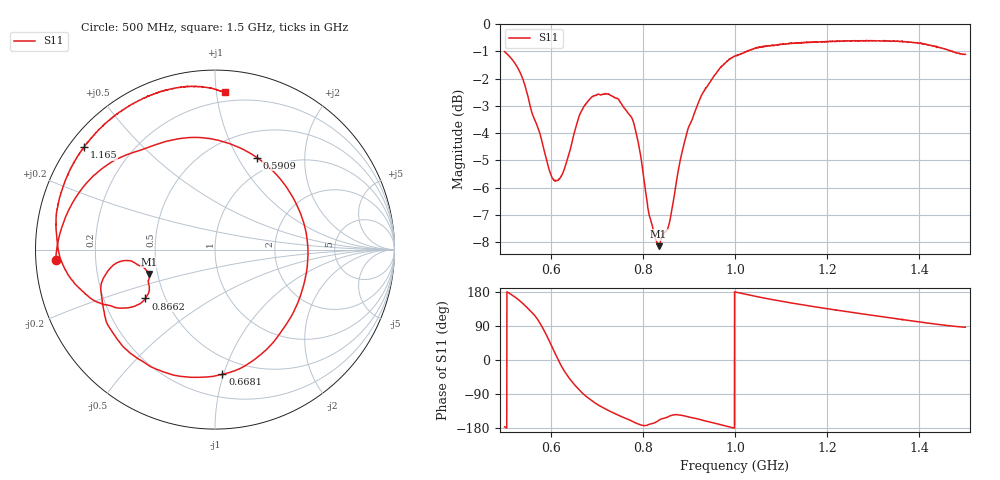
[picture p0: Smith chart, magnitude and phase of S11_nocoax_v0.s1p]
# HZ S RI R 50
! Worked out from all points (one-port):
!   3201 points, 500 MHz to 1.5 GHz, reference 50 ohm
!   lowest |S11| = -8.2 dB at 834.1 MHz (marker M1), VSWR 2.28, Z = 22.4 - j7.16 ohm
!   |S11| at or under -10 dB: nowhere
!   S11 on the Smith chart (normalised r, x): 500 MHz: 0.06, -0.03; 590.9 MHz: 0.80, +1.21; 668.1 MHz: 0.37, -0.99; 866.2 MHz: 0.39, -0.27; 1.165 GHz: 0.04, +0.34; 1.5 GHz: 0.13, +1.06
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5e8  -0.8886 -0.0555
5.228125e8  -0.8206 0.2085
5.41875e8  -0.6526 0.4326
5.73125e8  -0.161 0.6225
5.81875e8  0.0368 0.6038
5.909375e8  0.2343 0.5128
6.08125e8  0.4817 0.1858
6.25e8  0.4982 -0.1807
6.484375e8  0.3057 -0.5372
6.68125e8  0.0415 -0.6946
6.853125e8  -0.176 -0.708
7.053125e8  -0.375 -0.6414
7.265625e8  -0.518 -0.5337
7.5e8  -0.6097 -0.3857
7.7875e8  -0.6347 -0.197
7.99375e8  -0.5374 -0.0704
8.340625e8  -0.3671 -0.1351
8.6625e8  -0.3875 -0.2721
8.75e8  -0.4286 -0.3068
9.246875e8  -0.6744 -0.2833
9.671875e8  -0.8179 -0.1417
1e9  -0.8743 0.00443
1.050938e9  -0.8811 0.2125
1.125e9  -0.7999 0.4617
1.165e9  -0.7297 0.5707
1.25e9  -0.5527 0.7508
1.375e9  -0.2359 0.8956
1.5e9  0.056 0.879
